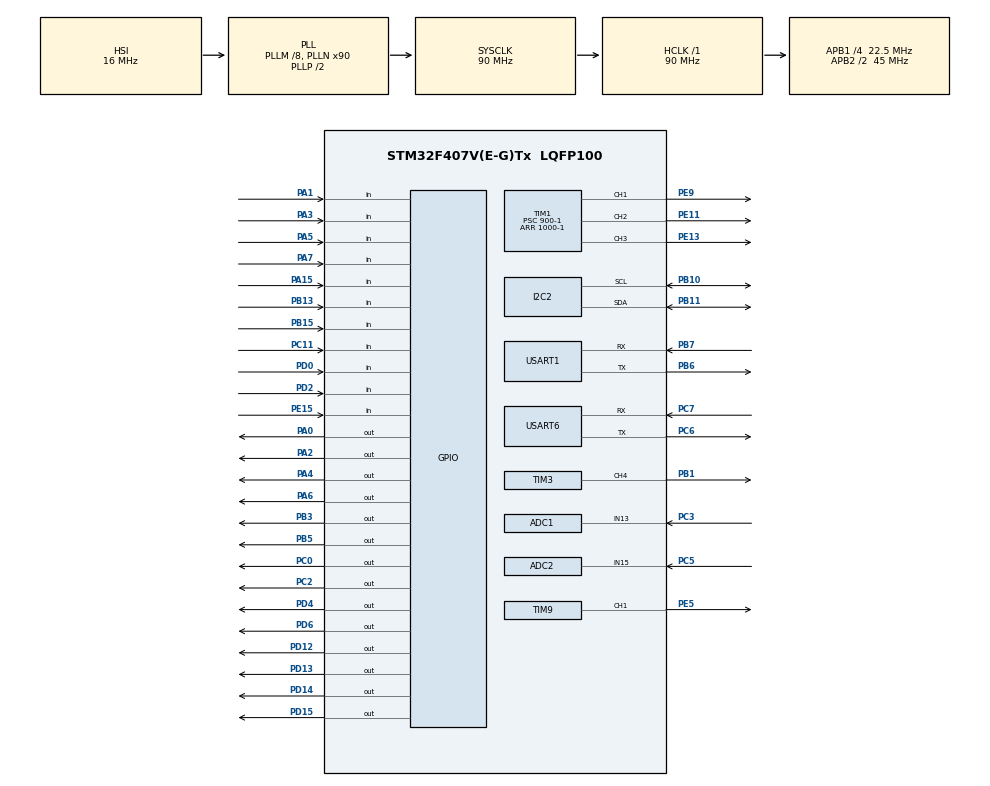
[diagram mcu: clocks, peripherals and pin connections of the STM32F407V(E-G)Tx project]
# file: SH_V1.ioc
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ADC1.Channel-0\#ChannelRegularConversion=ADC_CHANNEL_13
ADC1.NbrOfConversionFlag=1
ADC1.Rank-0\#ChannelRegularConversion=1
ADC1.SamplingTime-0\#ChannelRegularConversion=ADC_SAMPLETIME_3CYCLES
ADC1.master=1
ADC2.Channel-0\#ChannelRegularConversion=ADC_CHANNEL_15
ADC2.NbrOfConversionFlag=1
ADC2.Rank-0\#ChannelRegularConversion=1
ADC2.SamplingTime-0\#ChannelRegularConversion=ADC_SAMPLETIME_3CYCLES
FREERTOS.Tasks01=defaultTask,24,256,StartDefaultTask,Default,NULL,Dynamic,NULL,NULL;myTask02,10,128,StartTask02Function,Default,NULL,Dynamic,NULL,NULL;myTask03,9,128,StartTask03Function,Default,NULL,Dynamic,NULL,NULL;myTask04,8,128,StartTask04Function,Default,NULL,Dynamic,NULL,NULL;myTask05,8,128,StartTask05Function,Default,NULL,Dynamic,NULL,NULL;myTask06,8,128,StartTask06Function,Default,NULL,Dynamic,NULL,NULL
IWDG.Prescaler=IWDG_PRESCALER_64
IWDG.Reload=1499
Mcu.Family=STM32F4
Mcu.Name=STM32F407V(E-G)Tx
Mcu.Package=LQFP100
NVIC.PriorityGroup=NVIC_PRIORITYGROUP_4
NVIC.TIM1_UP_TIM10_IRQn=true\:0\:0\:false\:false\:true\:false\:false\:true
NVIC.TimeBase=TIM1_UP_TIM10_IRQn
NVIC.TimeBaseIP=TIM10
NVIC.USART1_IRQn=true\:8\:0\:true\:false\:true\:true\:true\:true
NVIC.USART6_IRQn=true\:7\:0\:true\:false\:true\:true\:true\:true
PA0-WKUP.Signal=GPIO_Output
PA1.Signal=GPIO_Input
PA13.Mode=Serial_Wire
PA13.Signal=SYS_JTMS-SWDIO
PA14.Mode=Serial_Wire
PA14.Signal=SYS_JTCK-SWCLK
PA15.GPIO_PuPd=GPIO_PULLUP
PA15.Signal=GPIO_Input
PA2.Signal=GPIO_Output
PA3.Signal=GPIO_Input
PA4.Signal=GPIO_Output
PA5.Signal=GPIO_Input
PA6.Signal=GPIO_Output
PA7.Signal=GPIO_Input
PB1.Signal=S_TIM3_CH4
PB10.Mode=I2C
PB10.Signal=I2C2_SCL
PB11.Mode=I2C
PB11.Signal=I2C2_SDA
PB13.Signal=GPIO_Input
PB15.Signal=GPIO_Input
PB3.Signal=GPIO_Output
PB5.Signal=GPIO_Output
PB6.Mode=Asynchronous
PB6.Signal=USART1_TX
PB7.Mode=Asynchronous
PB7.Signal=USART1_RX
PC0.Signal=GPIO_Output
PC11.GPIO_PuPd=GPIO_PULLUP
PC11.Signal=GPIO_Input
PC2.Signal=GPIO_Output
PC3.Signal=ADCx_IN13
PC5.Signal=ADCx_IN15
PC6.GPIO_PuPd=GPIO_PULLUP
PC6.Mode=Asynchronous
PC6.Signal=USART6_TX
PC7.GPIO_PuPd=GPIO_PULLUP
PC7.Mode=Asynchronous
PC7.Signal=USART6_RX
PD0.GPIO_PuPd=GPIO_PULLUP
PD0.Signal=GPIO_Input
PD12.Signal=GPIO_Output
PD13.Signal=GPIO_Output
PD14.Signal=GPIO_Output
PD15.Signal=GPIO_Output
PD2.GPIO_PuPd=GPIO_PULLUP
PD2.Signal=GPIO_Input
PD4.Signal=GPIO_Output
PD6.Signal=GPIO_Output
PE11.Signal=S_TIM1_CH2
PE13.Signal=S_TIM1_CH3
PE15.Signal=GPIO_Input
PE5.Signal=S_TIM9_CH1
PE9.Signal=S_TIM1_CH1
PH0-OSC_IN.Mode=HSE-External-Oscillator
PH0-OSC_IN.Signal=RCC_OSC_IN
PH1-OSC_OUT.Mode=HSE-External-Oscillator
PH1-OSC_OUT.Signal=RCC_OSC_OUT
ProjectManager.HeapSize=0x200
ProjectManager.StackSize=0x400
ProjectManager.TargetToolchain=MDK-ARM V5.27
RCC.48MHZClocksFreq_Value=45000000
RCC.AHBFreq_Value=90000000
RCC.APB1CLKDivider=RCC_HCLK_DIV4
RCC.APB1Freq_Value=22500000
RCC.APB1TimFreq_Value=45000000
RCC.APB2CLKDivider=RCC_HCLK_DIV2
RCC.APB2Freq_Value=45000000
RCC.APB2TimFreq_Value=90000000
RCC.CortexFreq_Value=90000000
RCC.HCLKFreq_Value=90000000
RCC.HSE_VALUE=25000000
RCC.HSI_VALUE=16000000
RCC.LSE_VALUE=32768
RCC.PLLM=8
RCC.PLLN=90
RCC.SYSCLKFreq_VALUE=90000000
RCC.SYSCLKSource=RCC_SYSCLKSOURCE_PLLCLK
RCC.VCOOutputFreq_Value=180000000
SH.ADCx_IN13.0=ADC1_IN13,IN13
SH.ADCx_IN15.0=ADC2_IN15,IN15
SH.S_TIM1_CH1.0=TIM1_CH1,PWM Generation1 CH1
SH.S_TIM1_CH2.0=TIM1_CH2,PWM Generation2 CH2
SH.S_TIM1_CH3.0=TIM1_CH3,PWM Generation3 CH3
SH.S_TIM3_CH4.0=TIM3_CH4,PWM Generation4 CH4
SH.S_TIM9_CH1.0=TIM9_CH1,PWM Generation1 CH1
TIM1.Channel-PWM\ Generation1\ CH1=TIM_CHANNEL_1
TIM1.Channel-PWM\ Generation2\ CH2=TIM_CHANNEL_2
TIM1.Channel-PWM\ Generation3\ CH3=TIM_CHANNEL_3
TIM1.Period=1000-1
TIM1.Prescaler=900-1
TIM3.Channel-PWM\ Generation4\ CH4=TIM_CHANNEL_4
TIM3.Period=1000-1
TIM3.Prescaler=900-1
TIM9.Channel-PWM\ Generation1\ CH1=TIM_CHANNEL_1
TIM9.Period=255-1
TIM9.Prescaler=692-1
USART1.VirtualMode=VM_ASYNC
USART6.VirtualMode=VM_ASYNC
VP_FREERTOS_VS_CMSIS_V2.Mode=CMSIS_V2
VP_IWDG_VS_IWDG.Mode=IWDG_Activate
VP_SYS_VS_tim10.Mode=TIM10
board=custom

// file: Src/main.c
/* USER CODE BEGIN Header */
/**
  ******************************************************************************
  * @file           : main.c
  * @brief          : Main program body
  ******************************************************************************
  * @attention
  *
  * <h2><center>&copy; Copyright (c) 2021 STMicroelectronics.
  * All rights reserved.</center></h2>
  *
  * This software component is licensed by ST under BSD 3-Clause license,
  * the "License"; You may not use this file except in compliance with the
  * License. You may obtain a copy of the License at:
  *                        opensource.org/licenses/BSD-3-Clause
  *
  ******************************************************************************
  */
/* USER CODE END Header */

#include "main.h"
#include "cmsis_os.h"

/* USER CODE BEGIN Includes */
#include "string.h"
#include "stdio.h"
#include "stdbool.h"
#include "math.h"

#include "dht11.h"
#include "lcd_i2c.h"
#include "music.h"
#include "servo.h"
/* USER CODE END Includes */

/* USER CODE BEGIN PD */
#define txBuf_size 30
#define rxBuf_size 10

#define R1_PORT GPIOB
#define R1_PIN GPIO_PIN_5

#define R2_PORT GPIOB
#define R2_PIN GPIO_PIN_3

#define R3_PORT GPIOD
#define R3_PIN GPIO_PIN_6

#define R4_PORT GPIOD
#define R4_PIN GPIO_PIN_4

#define C1_PORT GPIOD
#define C1_PIN GPIO_PIN_2

#define C2_PORT GPIOD
#define C2_PIN GPIO_PIN_0

#define C3_PORT GPIOC
#define C3_PIN GPIO_PIN_11

#define C4_PORT GPIOA
#define C4_PIN GPIO_PIN_15

char rxBuf[rxBuf_size];

char rxBuf_receive[2];
uint16_t rx_Index = 0;
char temp_receive[rxBuf_size];

char data_GAS_char[12];
float gas_in_ppm = 0;

char data_PIR_char[6] ;
char pir_char[6];
bool pir_bool_old = 0;

char data_RAIN_char[7];
char rain_char[7];
bool rain_bool_old = 0;

char data_FLAME_char[8];
char flame_char[8];
bool flame_bool_old = 0;

unsigned char data_dht11[4];
char data_dht11_char[15];

char debug_char[10];

long timeout_to_send_gasvalue		= 0;
long timeout_to_send_dht11value = 0;
long timeout_to_send_flamevalue = 0;
long timeout_to_send_rainvalue 	= 0;
long timeout_to_send_pirvalue 	= 0;
long timeout_to_send_hallvalue 	= 0;

/* USER CODE END PD */

ADC_HandleTypeDef hadc1;
ADC_HandleTypeDef hadc2;

I2C_HandleTypeDef hi2c2;

IWDG_HandleTypeDef hiwdg;

TIM_HandleTypeDef htim1;
TIM_HandleTypeDef htim3;
TIM_HandleTypeDef htim9;

UART_HandleTypeDef huart1;
UART_HandleTypeDef huart6;

/* Definitions for defaultTask */
osThreadId_t defaultTaskHandle;
const osThreadAttr_t defaultTask_attributes = {
  .name = "defaultTask",
  .priority = (osPriority_t) osPriorityNormal,
  .stack_size = 256 * 4
};
/* Definitions for myTask02 */
osThreadId_t myTask02Handle;
const osThreadAttr_t myTask02_attributes = {
  .name = "myTask02",
  .priority = (osPriority_t) osPriorityLow2,
  .stack_size = 128 * 4
};
/* Definitions for myTask03 */
osThreadId_t myTask03Handle;
const osThreadAttr_t myTask03_attributes = {
  .name = "myTask03",
  .priority = (osPriority_t) osPriorityLow1,
  .stack_size = 128 * 4
};
/* Definitions for myTask04 */
osThreadId_t myTask04Handle;
const osThreadAttr_t myTask04_attributes = {
  .name = "myTask04",
  .priority = (osPriority_t) osPriorityLow,
  .stack_size = 128 * 4
};
/* Definitions for myTask05 */
osThreadId_t myTask05Handle;
const osThreadAttr_t myTask05_attributes = {
  .name = "myTask05",
  .priority = (osPriority_t) osPriorityLow,
  .stack_size = 128 * 4
};
/* Definitions for myTask06 */
osThreadId_t myTask06Handle;
const osThreadAttr_t myTask06_attributes = {
  .name = "myTask06",
  .priority = (osPriority_t) osPriorityLow,
  .stack_size = 128 * 4
};

void SystemClock_Config(void);
static void MX_GPIO_Init(void);
static void MX_ADC1_Init(void);
static void MX_ADC2_Init(void);
static void MX_I2C2_Init(void);
static void MX_TIM1_Init(void);
static void MX_TIM3_Init(void);
static void MX_TIM9_Init(void);
static void MX_USART6_UART_Init(void);
static void MX_USART1_UART_Init(void);
static void MX_IWDG_Init(void);
void StartDefaultTask(void *argument);
void StartTask02Function(void *argument);
void StartTask03Function(void *argument);
void StartTask04Function(void *argument);
void StartTask05Function(void *argument);
void StartTask06Function(void *argument);

/* USER CODE BEGIN 0 */
//static void serial_write(void* data, size_t len){
//	//HAL_UART_Transmit(&huart1, (uint8_t*)data, (uint16_t)len, 100);
//	HAL_UART_Transmit_DMA(&huart1, (uint8_t*)data, sizeof(data));
//}

//void serial_send_cmd(char data[]){
//		char line[txBuf_size];
//		snprintf(line, sizeof(line), "%s\r\n", data);
//		serial_write(line, strlen(line));
//}
void serial_send_cmd(char data[]){
		char line[txBuf_size];
		snprintf(line, sizeof(line), "%s\r\n", data);
		HAL_UART_Transmit(&huart1, (uint8_t*)line, strlen(line) , 100);
		//HAL_UART_Transmit_IT(&huart1, (uint8_t*)line, strlen(line));
		//HAL_UART_Transmit_DMA(&huart1, (uint8_t*)line, strlen(line));
}

char* serial_read(){
	strcpy(temp_receive, rxBuf);
	return temp_receive;
}

void control_home(){
	char temp[2];
	if (strncmp(serial_read(),"bathL",5) == 0){
		temp[0] = temp_receive[5];
		if(temp[0] == 'T'){
			//control_light("Bathroom",ON);
			HAL_GPIO_WritePin(GPIOA,GPIO_PIN_6, GPIO_PIN_SET);
		}else if(temp[0] == 'F'){
			//control_light("Bathroom", OFF);
			HAL_GPIO_WritePin(GPIOA,GPIO_PIN_6, GPIO_PIN_RESET);

		}
	}
}

void HAL_UART_RxCpltCallback(UART_HandleTypeDef *UartHandle){
  /* Prevent unused argument(s) compilation warning */
	if(UartHandle->Instance==USART6){
		if (rx_Index == 0){
//			for(int i = 0; i < rxBuf_size; i++){
//				rxBuf[i] = 0;

//			}
			strcpy(rxBuf,"");
		}
		if (rxBuf_receive[0] != '\n'){
			rxBuf[rx_Index]=rxBuf_receive[0];
			rx_Index++;
		}
		else{
			strcpy(temp_receive,rxBuf);
			rx_Index = 0;
		}
	}
  HAL_UART_Receive_IT(&huart6 , (uint8_t*)rxBuf_receive, 1);
}

/***********************FUNCTION FOR READING SENSOR*******************/
float read_gas_ppm_fixed(){
	float gas_value_inVolts = 0.0;
	double ppm_in_log;
	float ppm;

	HAL_ADC_Start(&hadc1);
	HAL_Delay(100);
	gas_value_inVolts = HAL_ADC_GetValue(&hadc1);
	HAL_ADC_Stop(&hadc1);
	gas_value_inVolts = 5*gas_value_inVolts/4095;

	ppm_in_log = (log10(((5 - gas_value_inVolts)/gas_value_inVolts)/0.1260) - 1.2908)/(-0.461);

	ppm = pow(10,ppm_in_log);

	return ppm;
}
char* read_rain_char(){
	bool rain_bool;
	rain_bool = !HAL_GPIO_ReadPin(GPIOA, GPIO_PIN_1);
	snprintf(rain_char,sizeof(rain_char),"RAIN %d",rain_bool);

  return rain_char; //IT'S CAN RETURN GLOBAL VARIABLE ONLY
}
char* read_pir_char(){
	bool pir_bool;
	pir_bool = HAL_GPIO_ReadPin(GPIOA, GPIO_PIN_7);
	snprintf(pir_char,sizeof(pir_char),"PIR %d",pir_bool);

  return pir_char; //IT'S CAN RETURN GLOBAL VARIABLE ONLY
}
char* read_flame_char(){
	bool flame_bool;
	flame_bool = !HAL_GPIO_ReadPin(GPIOA, GPIO_PIN_3);
	snprintf(flame_char,sizeof(flame_char),"FLAME %d",flame_bool);

  return flame_char; //IT'S CAN RETURN GLOBAL VARIABLE ONLY
}
char read_keypad (void){

	/* Make ROW 1 LOW and all other ROWs HIGH */
	HAL_GPIO_WritePin (R1_PORT, R1_PIN, GPIO_PIN_RESET);  //Pull the R1 low
	HAL_GPIO_WritePin (R2_PORT, R2_PIN, GPIO_PIN_SET);  // Pull the R2 High
	HAL_GPIO_WritePin (R3_PORT, R3_PIN, GPIO_PIN_SET);  // Pull the R3 High
	HAL_GPIO_WritePin (R4_PORT, R4_PIN, GPIO_PIN_SET);  // Pull the R4 High

	if (!(HAL_GPIO_ReadPin (C1_PORT, C1_PIN)))   // if the Col 1 is low
	{
		HAL_Delay(20);
		if (!(HAL_GPIO_ReadPin (C1_PORT, C1_PIN))){
			while (!(HAL_GPIO_ReadPin (C1_PORT, C1_PIN)));   // wait till the button is pressed
			return '1';
		}
	}

	if (!(HAL_GPIO_ReadPin (C2_PORT, C2_PIN)))   // if the Col 2 is low
	{
		while (!(HAL_GPIO_ReadPin (C2_PORT, C2_PIN)));   // wait till the button is pressed
		return '2';
	}

	if (!(HAL_GPIO_ReadPin (C3_PORT, C3_PIN)))   // if the Col 3 is low
	{
		while (!(HAL_GPIO_ReadPin (C3_PORT, C3_PIN)));   // wait till the button is pressed
		return '3';
	}

	if (!(HAL_GPIO_ReadPin (C4_PORT, C4_PIN)))   // if the Col 4 is low
	{
		while (!(HAL_GPIO_ReadPin (C4_PORT, C4_PIN)));   // wait till the button is pressed
		return 'A';
	}

	/* Make ROW 2 LOW and all other ROWs HIGH */
	HAL_GPIO_WritePin (R1_PORT, R1_PIN, GPIO_PIN_SET);  //Pull the R1 low
	HAL_GPIO_WritePin (R2_PORT, R2_PIN, GPIO_PIN_RESET);  // Pull the R2 High
	HAL_GPIO_WritePin (R3_PORT, R3_PIN, GPIO_PIN_SET);  // Pull the R3 High
	HAL_GPIO_WritePin (R4_PORT, R4_PIN, GPIO_PIN_SET);  // Pull the R4 High

	if (!(HAL_GPIO_ReadPin (C1_PORT, C1_PIN)))   // if the Col 1 is low
	{
		while (!(HAL_GPIO_ReadPin (C1_PORT, C1_PIN)));   // wait till the button is pressed
		return '4';
	}

	if (!(HAL_GPIO_ReadPin (C2_PORT, C2_PIN)))   // if the Col 2 is low
	{
		while (!(HAL_GPIO_ReadPin (C2_PORT, C2_PIN)));   // wait till the button is pressed
		return '5';
	}

	if (!(HAL_GPIO_ReadPin (C3_PORT, C3_PIN)))   // if the Col 3 is low
	{
		while (!(HAL_GPIO_ReadPin (C3_PORT, C3_PIN)));   // wait till the button is pressed
		return '6';
	}

	if (!(HAL_GPIO_ReadPin (C4_PORT, C4_PIN)))   // if the Col 4 is low
	{
		while (!(HAL_GPIO_ReadPin (C4_PORT, C4_PIN)));   // wait till the button is pressed
		return 'B';
	}

	/* Make ROW 3 LOW and all other ROWs HIGH */
	HAL_GPIO_WritePin (R1_PORT, R1_PIN, GPIO_PIN_SET);  //Pull the R1 low
	HAL_GPIO_WritePin (R2_PORT, R2_PIN, GPIO_PIN_SET);  // Pull the R2 High
	HAL_GPIO_WritePin (R3_PORT, R3_PIN, GPIO_PIN_RESET);  // Pull the R3 High
	HAL_GPIO_WritePin (R4_PORT, R4_PIN, GPIO_PIN_SET);  // Pull the R4 High

	if (!(HAL_GPIO_ReadPin (C1_PORT, C1_PIN)))   // if the Col 1 is low
	{
		while (!(HAL_GPIO_ReadPin (C1_PORT, C1_PIN)));   // wait till the button is pressed
		return '7';
	}

	if (!(HAL_GPIO_ReadPin (C2_PORT, C2_PIN)))   // if the Col 2 is low
	{
		while (!(HAL_GPIO_ReadPin (C2_PORT, C2_PIN)));   // wait till the button is pressed
		return '8';
	}

	if (!(HAL_GPIO_ReadPin (C3_PORT, C3_PIN)))   // if the Col 3 is low
	{
		while (!(HAL_GPIO_ReadPin (C3_PORT, C3_PIN)));   // wait till the button is pressed
		return '9';
	}

	if (!(HAL_GPIO_ReadPin (C4_PORT, C4_PIN)))   // if the Col 4 is low
	{
		while (!(HAL_GPIO_ReadPin (C4_PORT, C4_PIN)));   // wait till the button is pressed
		return 'C';
	}

	/* Make ROW 4 LOW and all other ROWs HIGH */
	HAL_GPIO_WritePin (R1_PORT, R1_PIN, GPIO_PIN_SET);  //Pull the R1 low
	HAL_GPIO_WritePin (R2_PORT, R2_PIN, GPIO_PIN_SET);  // Pull the R2 High
	HAL_GPIO_WritePin (R3_PORT, R3_PIN, GPIO_PIN_SET);  // Pull the R3 High
	HAL_GPIO_WritePin (R4_PORT, R4_PIN, GPIO_PIN_RESET);  // Pull the R4 High

	if (!(HAL_GPIO_ReadPin (C1_PORT, C1_PIN)))   // if the Col 1 is low
	{
		while (!(HAL_GPIO_ReadPin (C1_PORT, C1_PIN)));   // wait till the button is pressed
		return '*';
	}

	if (!(HAL_GPIO_ReadPin (C2_PORT, C2_PIN)))   // if the Col 2 is low
	{
		while (!(HAL_GPIO_ReadPin (C2_PORT, C2_PIN)));   // wait till the button is pressed
		return '0';
	}

	if (!(HAL_GPIO_ReadPin (C3_PORT, C3_PIN)))   // if the Col 3 is low
	{
		while (!(HAL_GPIO_ReadPin (C3_PORT, C3_PIN)));   // wait till the button is pressed
		return '#';
	}

	if (!(HAL_GPIO_ReadPin (C4_PORT, C4_PIN)))   // if the Col 4 is low
	{
		while (!(HAL_GPIO_ReadPin (C4_PORT, C4_PIN)));   // wait till the button is pressed
		return 'D';
	}
	return NULL;
}
/* USER CODE END 0 */

int main(void)
{

  /* MCU Configuration--------------------------------------------------------*/

  /* Reset of all peripherals, Initializes the Flash interface and the Systick. */
  HAL_Init();

  /* Configure the system clock */
  SystemClock_Config();

  /* Initialize all configured peripherals */
  MX_GPIO_Init();
  MX_ADC1_Init();
  MX_ADC2_Init();
  MX_I2C2_Init();
  MX_TIM1_Init();
  MX_TIM3_Init();
  MX_TIM9_Init();
  MX_USART6_UART_Init();
  MX_USART1_UART_Init();
  MX_IWDG_Init();
  /* USER CODE BEGIN 2 */
	music_Init();
	servo_Init();

	LCD_Init();
	LCD_i2cDeviceCheck();
	LCD_Clear();
	LCD_BackLight(LCD_BL_ON);

	HAL_UART_Receive_IT(&huart6 , (uint8_t*)rxBuf_receive, 1);
  /* USER CODE END 2 */

  /* Init scheduler */
  osKernelInitialize();

  /* Create the thread(s) */
  /* creation of defaultTask */
  defaultTaskHandle = osThreadNew(StartDefaultTask, NULL, &defaultTask_attributes);

  /* creation of myTask02 */
  myTask02Handle = osThreadNew(StartTask02Function, NULL, &myTask02_attributes);

  /* creation of myTask03 */
  myTask03Handle = osThreadNew(StartTask03Function, NULL, &myTask03_attributes);

  /* creation of myTask04 */
  myTask04Handle = osThreadNew(StartTask04Function, NULL, &myTask04_attributes);

  /* creation of myTask05 */
  myTask05Handle = osThreadNew(StartTask05Function, NULL, &myTask05_attributes);

  /* creation of myTask06 */
  myTask06Handle = osThreadNew(StartTask06Function, NULL, &myTask06_attributes);

  /* Start scheduler */
  osKernelStart();

  /* We should never get here as control is now taken by the scheduler */
  /* Infinite loop */
  while (1)
  {

    /* USER CODE BEGIN 3 */

//		control_home();

//		if(HAL_GetTick() - timeout_to_send_dht11value >= 30000){
//			DHT11_Init();
//			read_DHT11(data_dht11);
//			sprintf(data_dht11_char,"DHT11 %d.%d %d.%d",data_dht11[2],data_dht11[3],data_dht11[0],data_dht11[1]);
//			serial_send_cmd(data_dht11_char);
//			HAL_Delay(500);
//			timeout_to_send_dht11value = HAL_GetTick();
//		}
//
//		if(HAL_GetTick() - timeout_to_send_gasvalue >= 20000){
//			gas_in_ppm = read_gas_ppm_fixed();
//			snprintf(data_GAS_char,sizeof(data_GAS_char),"GAS %4.2f",gas_in_ppm);
//			serial_send_cmd(data_GAS_char);
//			HAL_Delay(500);
//			if(gas_in_ppm >= 10){
//				music_play(500);
//				HAL_Delay(200);
//				music_play(650);
//				HAL_Delay(200);
//			}
//			else{
//				music_stop();
//			}
//			timeout_to_send_gasvalue = HAL_GetTick();
//		}
//
//		if(HAL_GetTick() - timeout_to_send_pirvalue >= 5000){
//			strcpy(data_PIR_char,read_pir_char());
//			serial_send_cmd(data_PIR_char);
//			HAL_Delay(500);
//
//			timeout_to_send_pirvalue = HAL_GetTick();
//		}
//
//		if(HAL_GetTick() - timeout_to_send_rainvalue >= 7000){
//			strcpy(data_RAIN_char,read_rain_char());
//			serial_send_cmd(data_RAIN_char);
//			HAL_Delay(500);
//
//			timeout_to_send_rainvalue = HAL_GetTick();
//		}
//
//		if(HAL_GetTick() - timeout_to_send_flamevalue >= 3000){
//			strcpy(data_FLAME_char,read_flame_char());
//			serial_send_cmd(data_FLAME_char);
//			HAL_Delay(500);
//
//			timeout_to_send_flamevalue = HAL_GetTick();
//		}
//
//		debug_char[0] = NULL;
//		debug_char[0] = read_keypad();
//		if(debug_char[0] != NULL ){
//			LCD_SetCursor(1,1);
//			LCD_Send_String(debug_char,STR_NOSLIDE);
//		}
//
//		HAL_GPIO_TogglePin(GPIOD,GPIO_PIN_12);
//		HAL_Delay(100);
  }
  /* USER CODE END 3 */
}

void SystemClock_Config(void)
{
  RCC_OscInitTypeDef RCC_OscInitStruct = {0};
  RCC_ClkInitTypeDef RCC_ClkInitStruct = {0};

  /** Configure the main internal regulator output voltage
  */
  __HAL_RCC_PWR_CLK_ENABLE();
  __HAL_PWR_VOLTAGESCALING_CONFIG(PWR_REGULATOR_VOLTAGE_SCALE1);
  /** Initializes the CPU, AHB and APB busses clocks
  */
  RCC_OscInitStruct.OscillatorType = RCC_OSCILLATORTYPE_HSI|RCC_OSCILLATORTYPE_LSI;
  RCC_OscInitStruct.HSIState = RCC_HSI_ON;
  RCC_OscInitStruct.HSICalibrationValue = RCC_HSICALIBRATION_DEFAULT;
  RCC_OscInitStruct.LSIState = RCC_LSI_ON;
  RCC_OscInitStruct.PLL.PLLState = RCC_PLL_ON;
  RCC_OscInitStruct.PLL.PLLSource = RCC_PLLSOURCE_HSI;
  RCC_OscInitStruct.PLL.PLLM = 8;
  RCC_OscInitStruct.PLL.PLLN = 90;
  RCC_OscInitStruct.PLL.PLLP = RCC_PLLP_DIV2;
  RCC_OscInitStruct.PLL.PLLQ = 4;
  if (HAL_RCC_OscConfig(&RCC_OscInitStruct) != HAL_OK)
  {
    Error_Handler();
  }
  /** Initializes the CPU, AHB and APB busses clocks
  */
  RCC_ClkInitStruct.ClockType = RCC_CLOCKTYPE_HCLK|RCC_CLOCKTYPE_SYSCLK
                              |RCC_CLOCKTYPE_PCLK1|RCC_CLOCKTYPE_PCLK2;
  RCC_ClkInitStruct.SYSCLKSource = RCC_SYSCLKSOURCE_PLLCLK;
  RCC_ClkInitStruct.AHBCLKDivider = RCC_SYSCLK_DIV1;
  RCC_ClkInitStruct.APB1CLKDivider = RCC_HCLK_DIV4;
  RCC_ClkInitStruct.APB2CLKDivider = RCC_HCLK_DIV2;

  if (HAL_RCC_ClockConfig(&RCC_ClkInitStruct, FLASH_LATENCY_2) != HAL_OK)
  {
    Error_Handler();
  }
}

static void MX_ADC1_Init(void)
{

  ADC_ChannelConfTypeDef sConfig = {0};

  /** Configure the global features of the ADC (Clock, Resolution, Data Alignment and number of conversion)
  */
  hadc1.Instance = ADC1;
  hadc1.Init.ClockPrescaler = ADC_CLOCK_SYNC_PCLK_DIV2;
  hadc1.Init.Resolution = ADC_RESOLUTION_12B;
  hadc1.Init.ScanConvMode = DISABLE;
  hadc1.Init.ContinuousConvMode = DISABLE;
  hadc1.Init.DiscontinuousConvMode = DISABLE;
  hadc1.Init.ExternalTrigConvEdge = ADC_EXTERNALTRIGCONVEDGE_NONE;
  hadc1.Init.ExternalTrigConv = ADC_SOFTWARE_START;
  hadc1.Init.DataAlign = ADC_DATAALIGN_RIGHT;
  hadc1.Init.NbrOfConversion = 1;
  hadc1.Init.DMAContinuousRequests = DISABLE;
  hadc1.Init.EOCSelection = ADC_EOC_SINGLE_CONV;
  if (HAL_ADC_Init(&hadc1) != HAL_OK)
  {
    Error_Handler();
  }
  /** Configure for the selected ADC regular channel its corresponding rank in the sequencer and its sample time.
  */
  sConfig.Channel = ADC_CHANNEL_13;
  sConfig.Rank = 1;
  sConfig.SamplingTime = ADC_SAMPLETIME_3CYCLES;
  if (HAL_ADC_ConfigChannel(&hadc1, &sConfig) != HAL_OK)
  {
    Error_Handler();
  }

}

static void MX_ADC2_Init(void)
{

  ADC_ChannelConfTypeDef sConfig = {0};

  /** Configure the global features of the ADC (Clock, Resolution, Data Alignment and number of conversion)
  */
  hadc2.Instance = ADC2;
  hadc2.Init.ClockPrescaler = ADC_CLOCK_SYNC_PCLK_DIV2;
  hadc2.Init.Resolution = ADC_RESOLUTION_12B;
  hadc2.Init.ScanConvMode = DISABLE;
  hadc2.Init.ContinuousConvMode = DISABLE;
  hadc2.Init.DiscontinuousConvMode = DISABLE;
  hadc2.Init.ExternalTrigConvEdge = ADC_EXTERNALTRIGCONVEDGE_NONE;
  hadc2.Init.ExternalTrigConv = ADC_SOFTWARE_START;
  hadc2.Init.DataAlign = ADC_DATAALIGN_RIGHT;
  hadc2.Init.NbrOfConversion = 1;
  hadc2.Init.DMAContinuousRequests = DISABLE;
  hadc2.Init.EOCSelection = ADC_EOC_SINGLE_CONV;
  if (HAL_ADC_Init(&hadc2) != HAL_OK)
  {
    Error_Handler();
  }
  /** Configure for the selected ADC regular channel its corresponding rank in the sequencer and its sample time.
  */
  sConfig.Channel = ADC_CHANNEL_15;
  sConfig.Rank = 1;
  sConfig.SamplingTime = ADC_SAMPLETIME_3CYCLES;
  if (HAL_ADC_ConfigChannel(&hadc2, &sConfig) != HAL_OK)
  {
    Error_Handler();
  }

}

static void MX_I2C2_Init(void)
{

  hi2c2.Instance = I2C2;
  hi2c2.Init.ClockSpeed = 100000;
  hi2c2.Init.DutyCycle = I2C_DUTYCYCLE_2;
  hi2c2.Init.OwnAddress1 = 0;
  hi2c2.Init.AddressingMode = I2C_ADDRESSINGMODE_7BIT;
  hi2c2.Init.DualAddressMode = I2C_DUALADDRESS_DISABLE;
  hi2c2.Init.OwnAddress2 = 0;
  hi2c2.Init.GeneralCallMode = I2C_GENERALCALL_DISABLE;
  hi2c2.Init.NoStretchMode = I2C_NOSTRETCH_DISABLE;
  if (HAL_I2C_Init(&hi2c2) != HAL_OK)
  {
    Error_Handler();
  }

}

static void MX_IWDG_Init(void)
{

  hiwdg.Instance = IWDG;
  hiwdg.Init.Prescaler = IWDG_PRESCALER_64;
  hiwdg.Init.Reload = 1499;
  if (HAL_IWDG_Init(&hiwdg) != HAL_OK)
  {
    Error_Handler();
  }

}

static void MX_TIM1_Init(void)
{

  TIM_MasterConfigTypeDef sMasterConfig = {0};
  TIM_OC_InitTypeDef sConfigOC = {0};
  TIM_BreakDeadTimeConfigTypeDef sBreakDeadTimeConfig = {0};

  htim1.Instance = TIM1;
  htim1.Init.Prescaler = 900-1;
  htim1.Init.CounterMode = TIM_COUNTERMODE_UP;
  htim1.Init.Period = 1000-1;
  htim1.Init.ClockDivision = TIM_CLOCKDIVISION_DIV1;
  htim1.Init.RepetitionCounter = 0;
  htim1.Init.AutoReloadPreload = TIM_AUTORELOAD_PRELOAD_DISABLE;
  if (HAL_TIM_PWM_Init(&htim1) != HAL_OK)
  {
    Error_Handler();
  }
  sMasterConfig.MasterOutputTrigger = TIM_TRGO_RESET;
  sMasterConfig.MasterSlaveMode = TIM_MASTERSLAVEMODE_DISABLE;
  if (HAL_TIMEx_MasterConfigSynchronization(&htim1, &sMasterConfig) != HAL_OK)
  {
    Error_Handler();
  }
  sConfigOC.OCMode = TIM_OCMODE_PWM1;
  sConfigOC.Pulse = 0;
  sConfigOC.OCPolarity = TIM_OCPOLARITY_HIGH;
  sConfigOC.OCNPolarity = TIM_OCNPOLARITY_HIGH;
  sConfigOC.OCFastMode = TIM_OCFAST_DISABLE;
  sConfigOC.OCIdleState = TIM_OCIDLESTATE_RESET;
  sConfigOC.OCNIdleState = TIM_OCNIDLESTATE_RESET;
  if (HAL_TIM_PWM_ConfigChannel(&htim1, &sConfigOC, TIM_CHANNEL_1) != HAL_OK)
  {
    Error_Handler();
  }
  if (HAL_TIM_PWM_ConfigChannel(&htim1, &sConfigOC, TIM_CHANNEL_2) != HAL_OK)
  {
    Error_Handler();
  }
  if (HAL_TIM_PWM_ConfigChannel(&htim1, &sConfigOC, TIM_CHANNEL_3) != HAL_OK)
  {
    Error_Handler();
  }
  sBreakDeadTimeConfig.OffStateRunMode = TIM_OSSR_DISABLE;
  sBreakDeadTimeConfig.OffStateIDLEMode = TIM_OSSI_DISABLE;
  sBreakDeadTimeConfig.LockLevel = TIM_LOCKLEVEL_OFF;
  sBreakDeadTimeConfig.DeadTime = 0;
  sBreakDeadTimeConfig.BreakState = TIM_BREAK_DISABLE;
  sBreakDeadTimeConfig.BreakPolarity = TIM_BREAKPOLARITY_HIGH;
  sBreakDeadTimeConfig.AutomaticOutput = TIM_AUTOMATICOUTPUT_DISABLE;
  if (HAL_TIMEx_ConfigBreakDeadTime(&htim1, &sBreakDeadTimeConfig) != HAL_OK)
  {
    Error_Handler();
  }
  HAL_TIM_MspPostInit(&htim1);

}

static void MX_TIM3_Init(void)
{

  TIM_MasterConfigTypeDef sMasterConfig = {0};
  TIM_OC_InitTypeDef sConfigOC = {0};

  htim3.Instance = TIM3;
  htim3.Init.Prescaler = 900-1;
  htim3.Init.CounterMode = TIM_COUNTERMODE_UP;
  htim3.Init.Period = 1000-1;
  htim3.Init.ClockDivision = TIM_CLOCKDIVISION_DIV1;
  htim3.Init.AutoReloadPreload = TIM_AUTORELOAD_PRELOAD_DISABLE;
  if (HAL_TIM_PWM_Init(&htim3) != HAL_OK)
  {
    Error_Handler();
  }
  sMasterConfig.MasterOutputTrigger = TIM_TRGO_RESET;
  sMasterConfig.MasterSlaveMode = TIM_MASTERSLAVEMODE_DISABLE;
  if (HAL_TIMEx_MasterConfigSynchronization(&htim3, &sMasterConfig) != HAL_OK)
  {
    Error_Handler();
  }
  sConfigOC.OCMode = TIM_OCMODE_PWM1;
  sConfigOC.Pulse = 0;
  sConfigOC.OCPolarity = TIM_OCPOLARITY_HIGH;
  sConfigOC.OCFastMode = TIM_OCFAST_DISABLE;
  if (HAL_TIM_PWM_ConfigChannel(&htim3, &sConfigOC, TIM_CHANNEL_4) != HAL_OK)
  {
    Error_Handler();
  }
  HAL_TIM_MspPostInit(&htim3);

}

static void MX_TIM9_Init(void)
{

  TIM_OC_InitTypeDef sConfigOC = {0};

  htim9.Instance = TIM9;
  htim9.Init.Prescaler = 692-1;
  htim9.Init.CounterMode = TIM_COUNTERMODE_UP;
  htim9.Init.Period = 255-1;
  htim9.Init.ClockDivision = TIM_CLOCKDIVISION_DIV1;
  htim9.Init.AutoReloadPreload = TIM_AUTORELOAD_PRELOAD_DISABLE;
  if (HAL_TIM_PWM_Init(&htim9) != HAL_OK)
  {
    Error_Handler();
  }
  sConfigOC.OCMode = TIM_OCMODE_PWM1;
  sConfigOC.Pulse = 0;
  sConfigOC.OCPolarity = TIM_OCPOLARITY_HIGH;
  sConfigOC.OCFastMode = TIM_OCFAST_DISABLE;
  if (HAL_TIM_PWM_ConfigChannel(&htim9, &sConfigOC, TIM_CHANNEL_1) != HAL_OK)
  {
    Error_Handler();
  }
  HAL_TIM_MspPostInit(&htim9);

}

static void MX_USART1_UART_Init(void)
{

  huart1.Instance = USART1;
  huart1.Init.BaudRate = 115200;
  huart1.Init.WordLength = UART_WORDLENGTH_8B;
  huart1.Init.StopBits = UART_STOPBITS_1;
  huart1.Init.Parity = UART_PARITY_NONE;
  huart1.Init.Mode = UART_MODE_TX_RX;
  huart1.Init.HwFlowCtl = UART_HWCONTROL_NONE;
  huart1.Init.OverSampling = UART_OVERSAMPLING_16;
  if (HAL_UART_Init(&huart1) != HAL_OK)
  {
    Error_Handler();
  }

}

static void MX_USART6_UART_Init(void)
{

  huart6.Instance = USART6;
  huart6.Init.BaudRate = 115200;
  huart6.Init.WordLength = UART_WORDLENGTH_8B;
  huart6.Init.StopBits = UART_STOPBITS_1;
  huart6.Init.Parity = UART_PARITY_NONE;
  huart6.Init.Mode = UART_MODE_TX_RX;
  huart6.Init.HwFlowCtl = UART_HWCONTROL_NONE;
  huart6.Init.OverSampling = UART_OVERSAMPLING_16;
  if (HAL_UART_Init(&huart6) != HAL_OK)
  {
    Error_Handler();
  }

}

static void MX_GPIO_Init(void)
{
  GPIO_InitTypeDef GPIO_InitStruct = {0};

  /* GPIO Ports Clock Enable */
  __HAL_RCC_GPIOE_CLK_ENABLE();
  __HAL_RCC_GPIOH_CLK_ENABLE();
  __HAL_RCC_GPIOC_CLK_ENABLE();
  __HAL_RCC_GPIOA_CLK_ENABLE();
  __HAL_RCC_GPIOB_CLK_ENABLE();
  __HAL_RCC_GPIOD_CLK_ENABLE();

  /*Configure GPIO pin Output Level */
  HAL_GPIO_WritePin(GPIOC, GPIO_PIN_0|GPIO_PIN_2, GPIO_PIN_RESET);

  /*Configure GPIO pin Output Level */
  HAL_GPIO_WritePin(GPIOA, GPIO_PIN_0|GPIO_PIN_2|GPIO_PIN_4|GPIO_PIN_6, GPIO_PIN_RESET);

  /*Configure GPIO pin Output Level */
  HAL_GPIO_WritePin(GPIOD, GPIO_PIN_12|GPIO_PIN_13|GPIO_PIN_14|GPIO_PIN_15
                          |GPIO_PIN_4|GPIO_PIN_6, GPIO_PIN_RESET);

  /*Configure GPIO pin Output Level */
  HAL_GPIO_WritePin(GPIOB, GPIO_PIN_3|GPIO_PIN_5, GPIO_PIN_RESET);

  /*Configure GPIO pins : PC0 PC2 */
  GPIO_InitStruct.Pin = GPIO_PIN_0|GPIO_PIN_2;
  GPIO_InitStruct.Mode = GPIO_MODE_OUTPUT_PP;
  GPIO_InitStruct.Pull = GPIO_NOPULL;
  GPIO_InitStruct.Speed = GPIO_SPEED_FREQ_LOW;
  HAL_GPIO_Init(GPIOC, &GPIO_InitStruct);

  /*Configure GPIO pins : PA0 PA2 PA4 PA6 */
  GPIO_InitStruct.Pin = GPIO_PIN_0|GPIO_PIN_2|GPIO_PIN_4|GPIO_PIN_6;
  GPIO_InitStruct.Mode = GPIO_MODE_OUTPUT_PP;
  GPIO_InitStruct.Pull = GPIO_NOPULL;
  GPIO_InitStruct.Speed = GPIO_SPEED_FREQ_LOW;
  HAL_GPIO_Init(GPIOA, &GPIO_InitStruct);

  /*Configure GPIO pins : PA1 PA3 PA5 PA7 */
  GPIO_InitStruct.Pin = GPIO_PIN_1|GPIO_PIN_3|GPIO_PIN_5|GPIO_PIN_7;
  GPIO_InitStruct.Mode = GPIO_MODE_INPUT;
  GPIO_InitStruct.Pull = GPIO_NOPULL;
  HAL_GPIO_Init(GPIOA, &GPIO_InitStruct);

  /*Configure GPIO pin : PE15 */
  GPIO_InitStruct.Pin = GPIO_PIN_15;
  GPIO_InitStruct.Mode = GPIO_MODE_INPUT;
  GPIO_InitStruct.Pull = GPIO_NOPULL;
  HAL_GPIO_Init(GPIOE, &GPIO_InitStruct);

  /*Configure GPIO pins : PB13 PB15 */
  GPIO_InitStruct.Pin = GPIO_PIN_13|GPIO_PIN_15;
  GPIO_InitStruct.Mode = GPIO_MODE_INPUT;
  GPIO_InitStruct.Pull = GPIO_NOPULL;
  HAL_GPIO_Init(GPIOB, &GPIO_InitStruct);

  /*Configure GPIO pins : PD12 PD13 PD14 PD15
                           PD4 PD6 */
  GPIO_InitStruct.Pin = GPIO_PIN_12|GPIO_PIN_13|GPIO_PIN_14|GPIO_PIN_15
                          |GPIO_PIN_4|GPIO_PIN_6;
  GPIO_InitStruct.Mode = GPIO_MODE_OUTPUT_PP;
  GPIO_InitStruct.Pull = GPIO_NOPULL;
  GPIO_InitStruct.Speed = GPIO_SPEED_FREQ_LOW;
  HAL_GPIO_Init(GPIOD, &GPIO_InitStruct);

  /*Configure GPIO pin : PA15 */
  GPIO_InitStruct.Pin = GPIO_PIN_15;
  GPIO_InitStruct.Mode = GPIO_MODE_INPUT;
  GPIO_InitStruct.Pull = GPIO_PULLUP;
  HAL_GPIO_Init(GPIOA, &GPIO_InitStruct);

  /*Configure GPIO pin : PC11 */
  GPIO_InitStruct.Pin = GPIO_PIN_11;
  GPIO_InitStruct.Mode = GPIO_MODE_INPUT;
  GPIO_InitStruct.Pull = GPIO_PULLUP;
  HAL_GPIO_Init(GPIOC, &GPIO_InitStruct);

  /*Configure GPIO pins : PD0 PD2 */
  GPIO_InitStruct.Pin = GPIO_PIN_0|GPIO_PIN_2;
  GPIO_InitStruct.Mode = GPIO_MODE_INPUT;
  GPIO_InitStruct.Pull = GPIO_PULLUP;
  HAL_GPIO_Init(GPIOD, &GPIO_InitStruct);

  /*Configure GPIO pins : PB3 PB5 */
  GPIO_InitStruct.Pin = GPIO_PIN_3|GPIO_PIN_5;
  GPIO_InitStruct.Mode = GPIO_MODE_OUTPUT_PP;
  GPIO_InitStruct.Pull = GPIO_NOPULL;
  GPIO_InitStruct.Speed = GPIO_SPEED_FREQ_LOW;
  HAL_GPIO_Init(GPIOB, &GPIO_InitStruct);

}

void StartDefaultTask(void *argument)
{
  /* USER CODE BEGIN 5 */
  /* Infinite loop */
  for(;;)
  {
		control_home();
		HAL_IWDG_Refresh(&hiwdg);
    osDelay(1);
  }
  /* USER CODE END 5 */
}

void StartTask02Function(void *argument)
{
  /* USER CODE BEGIN StartTask02Function */
  /* Infinite loop */
  for(;;)
  {
		if(HAL_GetTick() - timeout_to_send_dht11value >= 30000){
			DHT11_Init();
			read_DHT11(data_dht11);
			sprintf(data_dht11_char,"DHT11 %d.%d %d.%d",data_dht11[2],data_dht11[3],data_dht11[0],data_dht11[1]);
			serial_send_cmd(data_dht11_char);
			HAL_Delay(1000);
			timeout_to_send_dht11value = HAL_GetTick();
		}

		if(HAL_GetTick() - timeout_to_send_gasvalue >= 20000){
			gas_in_ppm = read_gas_ppm_fixed();
			snprintf(data_GAS_char,sizeof(data_GAS_char),"GAS %4.2f",gas_in_ppm);
			serial_send_cmd(data_GAS_char);
			HAL_Delay(1000);
			if(gas_in_ppm >= 10){
				music_play(500);
				HAL_Delay(200);
				music_play(650);
				HAL_Delay(200);
			}
			else{
				music_stop();
			}
			timeout_to_send_gasvalue = HAL_GetTick();
		}

    osDelay(1);
  }
  /* USER CODE END StartTask02Function */
}

void StartTask03Function(void *argument)
{
  /* USER CODE BEGIN StartTask03Function */
  /* Infinite loop */
  for(;;)
  {
		debug_char[0] = NULL;
		debug_char[0] = read_keypad();
		if(debug_char[0] != NULL ){
			LCD_SetCursor(1,1);
			LCD_Send_String(debug_char,STR_NOSLIDE);
		}
    osDelay(1);
  }
  /* USER CODE END StartTask03Function */
}

void StartTask04Function(void *argument)
{
  /* USER CODE BEGIN StartTask04Function */
  /* Infinite loop */
  for(;;)
  {
		if(HAL_GetTick() - timeout_to_send_pirvalue >= 5000){
			strcpy(data_PIR_char,read_pir_char());
			serial_send_cmd(data_PIR_char);
			HAL_Delay(1000);

			timeout_to_send_pirvalue = HAL_GetTick();
		}

		if(HAL_GetTick() - timeout_to_send_rainvalue >= 7000){
			strcpy(data_RAIN_char,read_rain_char());
			serial_send_cmd(data_RAIN_char);
			HAL_Delay(1000);

			timeout_to_send_rainvalue = HAL_GetTick();
		}

		if(HAL_GetTick() - timeout_to_send_flamevalue >= 3000){
			strcpy(data_FLAME_char,read_flame_char());
			serial_send_cmd(data_FLAME_char);
			HAL_Delay(1000);

			timeout_to_send_flamevalue = HAL_GetTick();
		}

    osDelay(1);
  }
  /* USER CODE END StartTask04Function */
}

void StartTask05Function(void *argument)
{
  for(;;)
  {
    osDelay(1);
  }
}

void StartTask06Function(void *argument)
{
  for(;;)
  {
    osDelay(1);
  }
}

 /**
  * @brief  Period elapsed callback in non blocking mode
  * @note   This function is called  when TIM10 interrupt took place, inside
  * HAL_TIM_IRQHandler(). It makes a direct call to HAL_IncTick() to increment
  * a global variable "uwTick" used as application time base.
  * @param  htim : TIM handle
  * @retval None
  */
void HAL_TIM_PeriodElapsedCallback(TIM_HandleTypeDef *htim)
{
  if (htim->Instance == TIM10) {
    HAL_IncTick();
  }
}

void Error_Handler(void)
{
}

/************************ (C) COPYRIGHT STMicroelectronics *****END OF FILE****/
